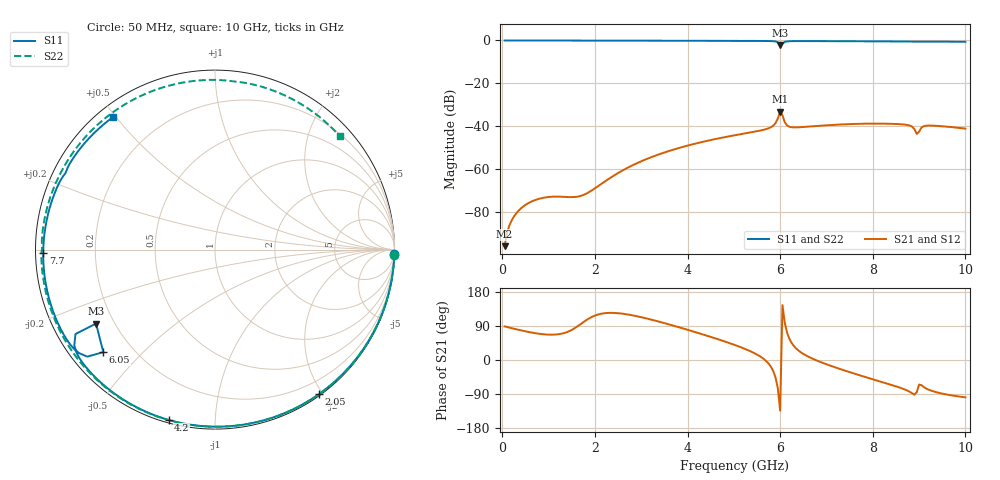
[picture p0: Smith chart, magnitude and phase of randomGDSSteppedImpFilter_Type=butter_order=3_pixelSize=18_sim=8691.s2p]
! freq	dB(S11)	phase(S11)	dB(S12)	phase(S12)
!  dB(S21)	phase(S21)	dB(S22)	phase(S22)
!S-par simulation data
#  GHz  S  DB  R 50
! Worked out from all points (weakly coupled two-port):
!   200 points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, 50 MHz to 10 GHz, reference 50 ohm
!   highest |S21| = -33.30 dB at 6 GHz (marker M1); lowest = -96.1 dB at 50 MHz (marker M2)
!   lowest |S11| = -2.2 dB at 6 GHz (marker M3), VSWR 8.11, Z = 6.66 - j14 ohm
!   |S11| at or under -10 dB: nowhere
!   |S22| runs from -0.5 to 0.0 dB; largest |S21 - S12| = 0
!   S11 on the Smith chart (normalised r, x): 50 MHz: 0, -83; 2.05 GHz: 0.02, -1.95; 4.2 GHz: 0.01, -0.76; 6.05 GHz: 0.10, -0.39; 7.7 GHz: 0.02, -0.01; 10 GHz: 0.04, +0.49
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0.05  -0.00 -1.4  -96.09 88.6  -96.09 88.6  -0.00 -1.7
0.3  -0.01 -8.2  -80.79 81.1  -80.79 81.1  -0.01 -10.1
0.85  -0.03 -23.0  -73.66 68.4  -73.66 68.4  -0.03 -28.3
1.75  -0.06 -46.6  -72.19 99.8  -72.19 99.8  -0.07 -57.4
2.05  -0.07 -54.2  -68.34 119.4  -68.34 119.4  -0.08 -66.7
2.7  -0.09 -70.4  -59.53 120.3  -59.53 120.3  -0.11 -86.5
3.4  -0.11 -87.0  -53.07 100.7  -53.07 100.7  -0.14 -106.9
4.2  -0.14 -105.3  -48.01 72.4  -48.01 72.4  -0.17 -129.6
5.05  -0.19 -124.0  -44.16 38.3  -44.16 38.3  -0.22 -153.3
5.8  -0.30 -141.8  -40.53 -17.7  -40.53 -17.7  -0.27 -174.5
5.95  -0.83 -148.8  -36.43 -74.8  -36.43 -74.8  -0.29 -178.9
6  -2.15 -148.1  -33.30 -133.7  -33.30 -133.7  -0.32 179.7
6.05  -1.46 -137.4  -35.00 144.8  -35.00 144.8  -0.31 178.5
6.1  -0.65 -140.0  -38.20 97.9  -38.20 97.9  -0.30 177.0
6.2  -0.36 -144.6  -40.30 55.7  -40.30 55.7  -0.30 174.0
6.7  -0.30 -157.2  -40.09 3.4  -40.09 3.4  -0.34 159.1
7.7  -0.38 -178.8  -38.94 -39.7  -38.94 -39.7  -0.41 127.1
8.35  -0.44 166.8  -38.91 -63.8  -38.91 -63.8  -0.46 104.6
8.8  -0.50 156.4  -39.77 -84.1  -39.77 -84.1  -0.49 88.2
8.95  -0.57 153.1  -43.68 -84.7  -43.68 -84.7  -0.51 82.7
9.15  -0.53 148.6  -39.82 -75.0  -39.82 -75.0  -0.50 75.2
10  -0.61 127.4  -41.18 -98.5  -41.18 -98.5  -0.54 42.2
